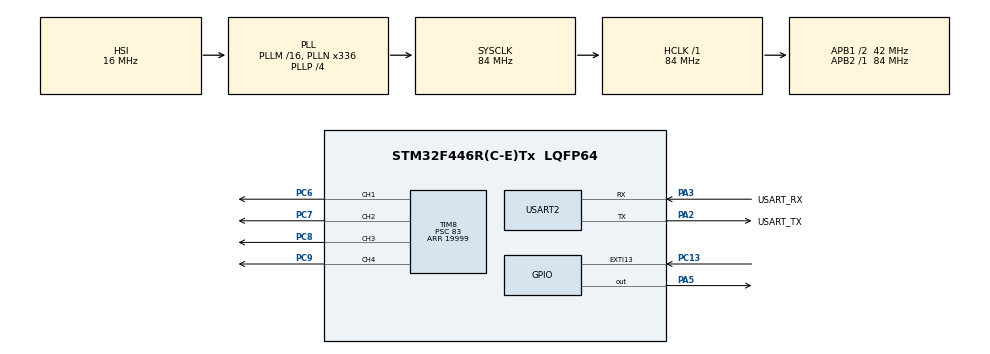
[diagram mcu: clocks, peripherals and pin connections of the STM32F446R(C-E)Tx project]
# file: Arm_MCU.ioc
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Dma.Request0=USART2_RX
Dma.Request1=USART2_TX
Dma.USART2_RX.0.Direction=DMA_PERIPH_TO_MEMORY
Dma.USART2_RX.0.FIFOMode=DMA_FIFOMODE_DISABLE
Dma.USART2_RX.0.Instance=DMA1_Stream5
Dma.USART2_RX.0.MemDataAlignment=DMA_MDATAALIGN_BYTE
Dma.USART2_RX.0.MemInc=DMA_MINC_ENABLE
Dma.USART2_RX.0.Mode=DMA_CIRCULAR
Dma.USART2_RX.0.PeriphDataAlignment=DMA_PDATAALIGN_BYTE
Dma.USART2_RX.0.PeriphInc=DMA_PINC_DISABLE
Dma.USART2_RX.0.Priority=DMA_PRIORITY_VERY_HIGH
Dma.USART2_TX.1.Direction=DMA_MEMORY_TO_PERIPH
Dma.USART2_TX.1.FIFOMode=DMA_FIFOMODE_DISABLE
Dma.USART2_TX.1.Instance=DMA1_Stream6
Dma.USART2_TX.1.MemDataAlignment=DMA_MDATAALIGN_BYTE
Dma.USART2_TX.1.MemInc=DMA_MINC_ENABLE
Dma.USART2_TX.1.Mode=DMA_NORMAL
Dma.USART2_TX.1.PeriphDataAlignment=DMA_PDATAALIGN_BYTE
Dma.USART2_TX.1.PeriphInc=DMA_PINC_DISABLE
Dma.USART2_TX.1.Priority=DMA_PRIORITY_VERY_HIGH
FREERTOS.Tasks01=defaultTask,24,3000,StartDefaultTask,Default,NULL,Dynamic,NULL,NULL
FREERTOS.configUSE_NEWLIB_REENTRANT=1
Mcu.Family=STM32F4
Mcu.Name=STM32F446R(C-E)Tx
Mcu.Package=LQFP64
NUCLEO-F446RE.BUTTON=1
NUCLEO-F446RE.Bsp_Common_DEMO=false
NUCLEO-F446RE.LD1=true
NVIC.DMA1_Stream5_IRQn=true\:5\:0\:false\:false\:true\:true\:false\:true\:true
NVIC.DMA1_Stream6_IRQn=true\:5\:0\:false\:false\:true\:true\:false\:true\:true
NVIC.EXTI15_10_IRQn=true\:5\:0\:false\:false\:true\:true\:false\:true\:true
NVIC.PriorityGroup=NVIC_PRIORITYGROUP_4
NVIC.TIM6_DAC_IRQn=true\:0\:0\:false\:false\:true\:false\:false\:true\:true
NVIC.TimeBase=TIM6_DAC_IRQn
NVIC.TimeBaseIP=TIM6
NVIC.USART2_IRQn=true\:5\:0\:false\:false\:true\:true\:true\:true\:true
PA13.GPIO_Label=TMS
PA13.Signal=SYS_JTMS-SWDIO
PA14.GPIO_Label=TCK
PA14.Signal=SYS_JTCK-SWCLK
PA2.GPIO_Label=USART_TX
PA2.Mode=Asynchronous
PA2.Signal=USART2_TX
PA3.GPIO_Label=USART_RX
PA3.Mode=Asynchronous
PA3.Signal=USART2_RX
PA5.Signal=GPIO_Output
PB3.GPIO_Label=SWO
PB3.Signal=SYS_JTDO-SWO
PC13.Signal=GPXTI13
PC14-OSC32_IN.Signal=RCC_OSC32_IN
PC15-OSC32_OUT.Signal=RCC_OSC32_OUT
PC6.Signal=S_TIM8_CH1
PC7.Signal=S_TIM8_CH2
PC8.Signal=S_TIM8_CH3
PC9.Signal=S_TIM8_CH4
PH0-OSC_IN.Signal=RCC_OSC_IN
PH1-OSC_OUT.Signal=RCC_OSC_OUT
ProjectManager.HeapSize=0x200
ProjectManager.StackSize=0x400
ProjectManager.TargetToolchain=STM32CubeIDE
RCC.AHBFreq_Value=84000000
RCC.APB1CLKDivider=RCC_HCLK_DIV2
RCC.APB1Freq_Value=42000000
RCC.APB1TimFreq_Value=84000000
RCC.APB2Freq_Value=84000000
RCC.APB2TimFreq_Value=84000000
RCC.CortexFreq_Value=84000000
RCC.FLatency-AdvancedSettings=FLASH_LATENCY_2
RCC.HCLKFreq_Value=84000000
RCC.HSE_VALUE=8000000
RCC.HSI_VALUE=16000000
RCC.LSE_VALUE=32768
RCC.PLLN=336
RCC.PLLP=RCC_PLLP_DIV4
RCC.SYSCLKFreq_VALUE=84000000
RCC.SYSCLKSource=RCC_SYSCLKSOURCE_PLLCLK
RCC.USBFreq_Value=168000000
RCC.VCOOutputFreq_Value=336000000
SH.S_TIM8_CH1.0=TIM8_CH1,PWM Generation1 CH1
SH.S_TIM8_CH2.0=TIM8_CH2,PWM Generation2 CH2
SH.S_TIM8_CH3.0=TIM8_CH3,PWM Generation3 CH3
SH.S_TIM8_CH4.0=TIM8_CH4,PWM Generation4 CH4
TIM8.AutoReloadPreload=TIM_AUTORELOAD_PRELOAD_ENABLE
TIM8.Channel-PWM\ Generation1\ CH1=TIM_CHANNEL_1
TIM8.Channel-PWM\ Generation2\ CH2=TIM_CHANNEL_2
TIM8.Channel-PWM\ Generation3\ CH3=TIM_CHANNEL_3
TIM8.Channel-PWM\ Generation4\ CH4=TIM_CHANNEL_4
TIM8.Period=19999
TIM8.Prescaler=83
TIM8.Pulse-PWM\ Generation1\ CH1=1500
TIM8.Pulse-PWM\ Generation2\ CH2=1500
TIM8.Pulse-PWM\ Generation3\ CH3=1500
USART2.VirtualMode=VM_ASYNC
VP_FREERTOS_VS_CMSIS_V2.Mode=CMSIS_V2
VP_NUCLEO-F446RE_VS_BSP_COMMON.Mode=COMMON
VP_SYS_VS_tim6.Mode=TIM6
VP_TIM8_VS_ClockSourceINT.Mode=Internal
board=NUCLEO-F446RE

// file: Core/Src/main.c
/* USER CODE BEGIN Header */
/**
  ******************************************************************************
  * @file           : main.c
  * @brief          : Main program body
  ******************************************************************************
  * @attention
  *
  * Copyright (c) 2026 STMicroelectronics.
  * All rights reserved.
  *
  * This software is licensed under terms that can be found in the LICENSE file
  * in the root directory of this software component.
  * If no LICENSE file comes with this software, it is provided AS-IS.
  *
  ******************************************************************************
  */
/* USER CODE END Header */
#include "main.h"
#include "cmsis_os.h"

/* USER CODE BEGIN Includes */

#include <stdbool.h>
#include <rcl/rcl.h>
#include <rcl/error_handling.h>
#include <rclc/rclc.h>
#include <rclc/executor.h>
#include <uxr/client/transport.h>
#include <rmw_microxrcedds_c/config.h>
#include <rmw_microros/rmw_microros.h>
#include <std_msgs/msg/int32.h>
#include <std_msgs/msg/int16_multi_array.h>
#include "servo.h"
/* USER CODE END Includes */

TIM_HandleTypeDef htim8;

UART_HandleTypeDef huart2;
DMA_HandleTypeDef hdma_usart2_rx;
DMA_HandleTypeDef hdma_usart2_tx;

/* Definitions for defaultTask */
osThreadId_t defaultTaskHandle;
const osThreadAttr_t defaultTask_attributes = {
  .name = "defaultTask",
  .stack_size = 3000 * 4,
  .priority = (osPriority_t) osPriorityNormal,
};

void SystemClock_Config(void);
static void MX_GPIO_Init(void);
static void MX_DMA_Init(void);
static void MX_USART2_UART_Init(void);
static void MX_TIM8_Init(void);
void StartDefaultTask(void *argument);

int main(void)
{

  /* MCU Configuration--------------------------------------------------------*/

  /* Reset of all peripherals, Initializes the Flash interface and the Systick. */
  HAL_Init();

  /* Configure the system clock */
  SystemClock_Config();

  /* Initialize all configured peripherals */
  MX_GPIO_Init();
  MX_DMA_Init();
  MX_USART2_UART_Init();
  MX_TIM8_Init();
  /* USER CODE BEGIN 2 */
  /* USER CODE BEGIN 2 */
  Servo_Init();   /* all 4 servos to centre, PWM running */
  /* USER CODE END 2 */
  /* USER CODE END 2 */

  /* Init scheduler */
  osKernelInitialize();

  /* Create the thread(s) */
  /* creation of defaultTask */
  defaultTaskHandle = osThreadNew(StartDefaultTask, NULL, &defaultTask_attributes);

  /* Initialize leds */
  BSP_LED_Init(LED2);

  /* Initialize USER push-button, will be used to trigger an interrupt each time it's pressed.*/
  BSP_PB_Init(BUTTON_USER, BUTTON_MODE_EXTI);

  /* Start scheduler */
  osKernelStart();

  /* We should never get here as control is now taken by the scheduler */

  /* Infinite loop */
  while (1)
  {

  }
}

void SystemClock_Config(void)
{
  RCC_OscInitTypeDef RCC_OscInitStruct = {0};
  RCC_ClkInitTypeDef RCC_ClkInitStruct = {0};

  /** Configure the main internal regulator output voltage
  */
  __HAL_RCC_PWR_CLK_ENABLE();
  __HAL_PWR_VOLTAGESCALING_CONFIG(PWR_REGULATOR_VOLTAGE_SCALE3);

  /** Initializes the RCC Oscillators according to the specified parameters
  * in the RCC_OscInitTypeDef structure.
  */
  RCC_OscInitStruct.OscillatorType = RCC_OSCILLATORTYPE_HSI;
  RCC_OscInitStruct.HSIState = RCC_HSI_ON;
  RCC_OscInitStruct.HSICalibrationValue = RCC_HSICALIBRATION_DEFAULT;
  RCC_OscInitStruct.PLL.PLLState = RCC_PLL_ON;
  RCC_OscInitStruct.PLL.PLLSource = RCC_PLLSOURCE_HSI;
  RCC_OscInitStruct.PLL.PLLM = 16;
  RCC_OscInitStruct.PLL.PLLN = 336;
  RCC_OscInitStruct.PLL.PLLP = RCC_PLLP_DIV4;
  RCC_OscInitStruct.PLL.PLLQ = 2;
  RCC_OscInitStruct.PLL.PLLR = 2;
  if (HAL_RCC_OscConfig(&RCC_OscInitStruct) != HAL_OK)
  {
    Error_Handler();
  }

  /** Initializes the CPU, AHB and APB buses clocks
  */
  RCC_ClkInitStruct.ClockType = RCC_CLOCKTYPE_HCLK|RCC_CLOCKTYPE_SYSCLK
                              |RCC_CLOCKTYPE_PCLK1|RCC_CLOCKTYPE_PCLK2;
  RCC_ClkInitStruct.SYSCLKSource = RCC_SYSCLKSOURCE_PLLCLK;
  RCC_ClkInitStruct.AHBCLKDivider = RCC_SYSCLK_DIV1;
  RCC_ClkInitStruct.APB1CLKDivider = RCC_HCLK_DIV2;
  RCC_ClkInitStruct.APB2CLKDivider = RCC_HCLK_DIV1;

  if (HAL_RCC_ClockConfig(&RCC_ClkInitStruct, FLASH_LATENCY_2) != HAL_OK)
  {
    Error_Handler();
  }
}

static void MX_TIM8_Init(void)
{

  TIM_ClockConfigTypeDef sClockSourceConfig = {0};
  TIM_MasterConfigTypeDef sMasterConfig = {0};
  TIM_OC_InitTypeDef sConfigOC = {0};
  TIM_BreakDeadTimeConfigTypeDef sBreakDeadTimeConfig = {0};

  htim8.Instance = TIM8;
  htim8.Init.Prescaler = 83;
  htim8.Init.CounterMode = TIM_COUNTERMODE_UP;
  htim8.Init.Period = 19999;
  htim8.Init.ClockDivision = TIM_CLOCKDIVISION_DIV1;
  htim8.Init.RepetitionCounter = 0;
  htim8.Init.AutoReloadPreload = TIM_AUTORELOAD_PRELOAD_ENABLE;
  if (HAL_TIM_Base_Init(&htim8) != HAL_OK)
  {
    Error_Handler();
  }
  sClockSourceConfig.ClockSource = TIM_CLOCKSOURCE_INTERNAL;
  if (HAL_TIM_ConfigClockSource(&htim8, &sClockSourceConfig) != HAL_OK)
  {
    Error_Handler();
  }
  if (HAL_TIM_PWM_Init(&htim8) != HAL_OK)
  {
    Error_Handler();
  }
  sMasterConfig.MasterOutputTrigger = TIM_TRGO_RESET;
  sMasterConfig.MasterSlaveMode = TIM_MASTERSLAVEMODE_DISABLE;
  if (HAL_TIMEx_MasterConfigSynchronization(&htim8, &sMasterConfig) != HAL_OK)
  {
    Error_Handler();
  }
  sConfigOC.OCMode = TIM_OCMODE_PWM1;
  sConfigOC.Pulse = 1500;
  sConfigOC.OCPolarity = TIM_OCPOLARITY_HIGH;
  sConfigOC.OCNPolarity = TIM_OCNPOLARITY_HIGH;
  sConfigOC.OCFastMode = TIM_OCFAST_DISABLE;
  sConfigOC.OCIdleState = TIM_OCIDLESTATE_RESET;
  sConfigOC.OCNIdleState = TIM_OCNIDLESTATE_RESET;
  if (HAL_TIM_PWM_ConfigChannel(&htim8, &sConfigOC, TIM_CHANNEL_1) != HAL_OK)
  {
    Error_Handler();
  }
  if (HAL_TIM_PWM_ConfigChannel(&htim8, &sConfigOC, TIM_CHANNEL_2) != HAL_OK)
  {
    Error_Handler();
  }
  if (HAL_TIM_PWM_ConfigChannel(&htim8, &sConfigOC, TIM_CHANNEL_3) != HAL_OK)
  {
    Error_Handler();
  }
  sConfigOC.Pulse = 0;
  if (HAL_TIM_PWM_ConfigChannel(&htim8, &sConfigOC, TIM_CHANNEL_4) != HAL_OK)
  {
    Error_Handler();
  }
  sBreakDeadTimeConfig.OffStateRunMode = TIM_OSSR_DISABLE;
  sBreakDeadTimeConfig.OffStateIDLEMode = TIM_OSSI_DISABLE;
  sBreakDeadTimeConfig.LockLevel = TIM_LOCKLEVEL_OFF;
  sBreakDeadTimeConfig.DeadTime = 0;
  sBreakDeadTimeConfig.BreakState = TIM_BREAK_DISABLE;
  sBreakDeadTimeConfig.BreakPolarity = TIM_BREAKPOLARITY_HIGH;
  sBreakDeadTimeConfig.AutomaticOutput = TIM_AUTOMATICOUTPUT_DISABLE;
  if (HAL_TIMEx_ConfigBreakDeadTime(&htim8, &sBreakDeadTimeConfig) != HAL_OK)
  {
    Error_Handler();
  }
  HAL_TIM_MspPostInit(&htim8);

}

static void MX_USART2_UART_Init(void)
{

  huart2.Instance = USART2;
  huart2.Init.BaudRate = 115200;
  huart2.Init.WordLength = UART_WORDLENGTH_8B;
  huart2.Init.StopBits = UART_STOPBITS_1;
  huart2.Init.Parity = UART_PARITY_NONE;
  huart2.Init.Mode = UART_MODE_TX_RX;
  huart2.Init.HwFlowCtl = UART_HWCONTROL_NONE;
  huart2.Init.OverSampling = UART_OVERSAMPLING_16;
  if (HAL_UART_Init(&huart2) != HAL_OK)
  {
    Error_Handler();
  }

}

static void MX_DMA_Init(void)
{

  /* DMA controller clock enable */
  __HAL_RCC_DMA1_CLK_ENABLE();

  /* DMA interrupt init */
  /* DMA1_Stream5_IRQn interrupt configuration */
  HAL_NVIC_SetPriority(DMA1_Stream5_IRQn, 5, 0);
  HAL_NVIC_EnableIRQ(DMA1_Stream5_IRQn);
  /* DMA1_Stream6_IRQn interrupt configuration */
  HAL_NVIC_SetPriority(DMA1_Stream6_IRQn, 5, 0);
  HAL_NVIC_EnableIRQ(DMA1_Stream6_IRQn);

}

static void MX_GPIO_Init(void)
{

  /* GPIO Ports Clock Enable */
  __HAL_RCC_GPIOC_CLK_ENABLE();
  __HAL_RCC_GPIOH_CLK_ENABLE();
  __HAL_RCC_GPIOA_CLK_ENABLE();
  __HAL_RCC_GPIOB_CLK_ENABLE();

}

/* USER CODE BEGIN 4 */

bool cubemx_transport_open(struct uxrCustomTransport * transport);
bool cubemx_transport_close(struct uxrCustomTransport * transport);
size_t cubemx_transport_write(struct uxrCustomTransport* transport, const uint8_t * buf, size_t len, uint8_t * err);
size_t cubemx_transport_read(struct uxrCustomTransport* transport, uint8_t* buf, size_t len, int timeout, uint8_t* err);

void * microros_allocate(size_t size, void * state);
void microros_deallocate(void * pointer, void * state);
void * microros_reallocate(void * pointer, size_t size, void * state);
void * microros_zero_allocate(size_t number_of_elements, size_t size_of_element, void * state);

/* Fast blinking LD2 = something failed */
static void error_loop(void)
{
  for (;;) { HAL_GPIO_TogglePin(LED2_GPIO_PORT, LED2_PIN); osDelay(100); }
}
#define RCCHECK(fn) { rcl_ret_t rc_ = (fn); if (rc_ != RCL_RET_OK) { error_loop(); } }
/* Called by the micro-ROS executor each time a message arrives on /arm/servo_cmd.
   data[0] = servo 1 ... data[3] = servo 4, in degrees.
   If fewer than 4 numbers are sent, only those servos move. */
static void servo_cmd_callback(const void * msgin)
{
  const std_msgs__msg__Int16MultiArray * cmd =
      (const std_msgs__msg__Int16MultiArray *) msgin;

  for (size_t i = 0; i < cmd->data.size && i < SERVO_COUNT; i++)
  {
    Servo_SetAngle((uint8_t) i, cmd->data.data[i]);
  }
}
/* USER CODE END 4 */

void StartDefaultTask(void *argument)
{
  /* USER CODE BEGIN 5 */
	  /* USER CODE BEGIN 5 */

	  /* 1. Tell micro-ROS to use USART2 (USB cable to the Pi) */
	  rmw_uros_set_custom_transport(true, (void *) &huart2,
	      cubemx_transport_open, cubemx_transport_close,
	      cubemx_transport_write, cubemx_transport_read);

	  /* 2. Tell micro-ROS to use FreeRTOS memory functions */
	  rcl_allocator_t freeRTOS_allocator = rcutils_get_zero_initialized_allocator();
	  freeRTOS_allocator.allocate      = microros_allocate;
	  freeRTOS_allocator.deallocate    = microros_deallocate;
	  freeRTOS_allocator.reallocate    = microros_reallocate;
	  freeRTOS_allocator.zero_allocate = microros_zero_allocate;
	  if (!rcutils_set_default_allocator(&freeRTOS_allocator)) { error_loop(); }

	  /* 3. LD2 ON = waiting for the Agent on the Pi */
	  HAL_GPIO_WritePin(LED2_GPIO_PORT, LED2_PIN, GPIO_PIN_SET);
	  while (rmw_uros_ping_agent(100, 1) != RMW_RET_OK) { osDelay(500); }
	  HAL_GPIO_WritePin(LED2_GPIO_PORT, LED2_PIN, GPIO_PIN_RESET);

	  /* 4. Variables */
	  rcl_allocator_t allocator = rcl_get_default_allocator();
	  rclc_support_t support;
	  rcl_node_t node;
	  rcl_publisher_t heartbeat_pub;
	  std_msgs__msg__Int32 heartbeat_msg;
	  rcl_subscription_t servo_sub;
	  static std_msgs__msg__Int16MultiArray servo_msg;  /* incoming command   */
	  static int16_t servo_buffer[8];                   /* room for 8 numbers */
	  rclc_executor_t executor = rclc_executor_get_zero_initialized_executor();

	  /* 5. Start micro-ROS on ROS domain 42, create the node */
	  rcl_init_options_t init_options = rcl_get_zero_initialized_init_options();
	  RCCHECK(rcl_init_options_init(&init_options, allocator));
	  RCCHECK(rcl_init_options_set_domain_id(&init_options, 42));
	  RCCHECK(rclc_support_init_with_options(&support, 0, NULL, &init_options,
	&allocator));
	  RCCHECK(rclc_node_init_default(&node, "arm_mcu", "", &support));

	  /* 6. Heartbeat publisher */
	  RCCHECK(rclc_publisher_init_default(&heartbeat_pub, &node,
	      ROSIDL_GET_MSG_TYPE_SUPPORT(std_msgs, msg, Int32), "/arm/heartbeat"));
	  /* 7. Servo command subscriber.
	        An array message needs memory reserved in advance on a microcontroller:
	        we point it to servo_buffer (max 8 numbers). */
	  servo_msg.data.data         = servo_buffer;
	  servo_msg.data.capacity     = 8;
	  servo_msg.data.size         = 0;
	  servo_msg.layout.dim.data     = NULL;  /* we do not use the layout part */
	  servo_msg.layout.dim.capacity = 0;
	  servo_msg.layout.dim.size     = 0;
	  servo_msg.layout.data_offset  = 0;
	  RCCHECK(rclc_subscription_init_default(&servo_sub, &node,
	      ROSIDL_GET_MSG_TYPE_SUPPORT(std_msgs, msg, Int16MultiArray),
	"/arm/servo_cmd"));

	  /* 8. Executor: checks for incoming messages and calls servo_cmd_callback.
	        1 = number of things it handles (1 subscriber). */
	  RCCHECK(rclc_executor_init(&executor, &support.context, 1, &allocator));
	  RCCHECK(rclc_executor_add_subscription(&executor, &servo_sub, &servo_msg,
	      &servo_cmd_callback, ON_NEW_DATA));

	  /* 9. Main loop: handle commands every 10 ms, send heartbeat every 1000 ms */
	  heartbeat_msg.data = 0;
	  uint32_t last_heartbeat = osKernelGetTickCount();   /* 1 tick = 1 ms */
	  for (;;)
	  {
	    rclc_executor_spin_some(&executor, RCL_MS_TO_NS(10));

	    if (osKernelGetTickCount() - last_heartbeat >= 1000)
	    {
	      last_heartbeat += 1000;
	      if (rcl_publish(&heartbeat_pub, &heartbeat_msg, NULL) == RCL_RET_OK)
	      {
	        HAL_GPIO_TogglePin(LED2_GPIO_PORT, LED2_PIN);  /* LD2 blinks = alive */
	      }
	      heartbeat_msg.data++;
	    }
	    osDelay(10);
	  }
	  /* USER CODE END 5 */
  /* USER CODE END 5 */
}

void HAL_TIM_PeriodElapsedCallback(TIM_HandleTypeDef *htim)
{
  if (htim->Instance == TIM6)
  {
    HAL_IncTick();
  }
}

void Error_Handler(void)
{
  __disable_irq();
  while (1)
  {
  }
}
